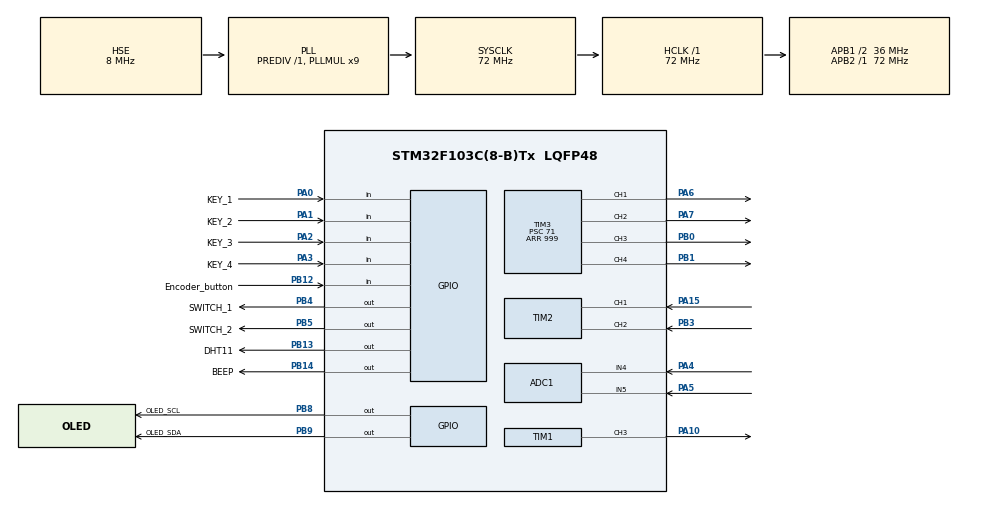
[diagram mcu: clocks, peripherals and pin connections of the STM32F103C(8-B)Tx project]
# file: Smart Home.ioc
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ADC1.Channel-0\#ChannelRegularConversion=ADC_CHANNEL_4
ADC1.EnableAnalogWatchDog=false
ADC1.NbrOfConversionFlag=1
ADC1.Rank-0\#ChannelRegularConversion=1
ADC1.SamplingTime-0\#ChannelRegularConversion=ADC_SAMPLETIME_1CYCLE_5
ADC1.master=1
Dma.Request0=TIM1_CH3
Dma.TIM1_CH3.0.Direction=DMA_MEMORY_TO_PERIPH
Dma.TIM1_CH3.0.Instance=DMA1_Channel6
Dma.TIM1_CH3.0.MemDataAlignment=DMA_MDATAALIGN_HALFWORD
Dma.TIM1_CH3.0.MemInc=DMA_MINC_ENABLE
Dma.TIM1_CH3.0.Mode=DMA_NORMAL
Dma.TIM1_CH3.0.PeriphDataAlignment=DMA_PDATAALIGN_HALFWORD
Dma.TIM1_CH3.0.PeriphInc=DMA_PINC_DISABLE
Dma.TIM1_CH3.0.Priority=DMA_PRIORITY_HIGH
FREERTOS.Tasks01=defaultTask,24,128,StartDefaultTask,Default,NULL,Dynamic,NULL,NULL
FREERTOS.configTOTAL_HEAP_SIZE=8192
Mcu.Family=STM32F1
Mcu.Name=STM32F103C(8-B)Tx
Mcu.Package=LQFP48
NVIC.DMA1_Channel6_IRQn=true\:5\:0\:false\:false\:true\:true\:false\:true\:true
NVIC.PriorityGroup=NVIC_PRIORITYGROUP_4
PA0-WKUP.GPIO_Label=KEY_1
PA0-WKUP.GPIO_PuPd=GPIO_PULLUP
PA0-WKUP.Signal=GPIO_Input
PA1.GPIO_Label=KEY_2
PA1.GPIO_PuPd=GPIO_PULLUP
PA1.Signal=GPIO_Input
PA10.GPIO_Speed=GPIO_SPEED_FREQ_HIGH
PA10.Signal=S_TIM1_CH3
PA13.Mode=Serial_Wire
PA13.Signal=SYS_JTMS-SWDIO
PA14.Mode=Serial_Wire
PA14.Signal=SYS_JTCK-SWCLK
PA15.Signal=S_TIM2_CH1_ETR
PA2.GPIO_Label=KEY_3
PA2.GPIO_PuPd=GPIO_PULLUP
PA2.Signal=GPIO_Input
PA3.GPIO_Label=KEY_4
PA3.GPIO_PuPd=GPIO_PULLUP
PA3.Signal=GPIO_Input
PA4.Signal=ADCx_IN4
PA5.Signal=ADCx_IN5
PA6.Signal=S_TIM3_CH1
PA7.Signal=S_TIM3_CH2
PB0.Signal=S_TIM3_CH3
PB1.Signal=S_TIM3_CH4
PB12.GPIO_Label=Encoder_button
PB12.GPIO_PuPd=GPIO_PULLUP
PB12.Signal=GPIO_Input
PB13.GPIO_Label=DHT11
PB13.GPIO_ModeDefaultOutputPP=GPIO_MODE_OUTPUT_OD
PB13.GPIO_PuPd=GPIO_NOPULL
PB13.GPIO_Speed=GPIO_SPEED_FREQ_HIGH
PB13.PinState=GPIO_PIN_RESET
PB13.Signal=GPIO_Output
PB14.GPIO_Label=BEEP
PB14.GPIO_PuPd=GPIO_PULLUP
PB14.PinState=GPIO_PIN_SET
PB14.Signal=GPIO_Output
PB3.Signal=S_TIM2_CH2
PB4.GPIO_Label=SWITCH_1
PB4.Signal=GPIO_Output
PB5.GPIO_Label=SWITCH_2
PB5.Signal=GPIO_Output
PB8.GPIO_Label=OLED_SCL
PB8.GPIO_ModeDefaultOutputPP=GPIO_MODE_OUTPUT_OD
PB8.GPIO_PuPd=GPIO_PULLUP
PB8.GPIO_Speed=GPIO_SPEED_FREQ_HIGH
PB8.PinState=GPIO_PIN_RESET
PB8.Signal=GPIO_Output
PB9.GPIO_Label=OLED_SDA
PB9.GPIO_ModeDefaultOutputPP=GPIO_MODE_OUTPUT_OD
PB9.GPIO_PuPd=GPIO_PULLUP
PB9.GPIO_Speed=GPIO_SPEED_FREQ_HIGH
PB9.PinState=GPIO_PIN_RESET
PB9.Signal=GPIO_Output
PC14-OSC32_IN.Mode=LSE-External-Oscillator
PC14-OSC32_IN.Signal=RCC_OSC32_IN
PC15-OSC32_OUT.Mode=LSE-External-Oscillator
PC15-OSC32_OUT.Signal=RCC_OSC32_OUT
PD0-OSC_IN.Mode=HSE-External-Oscillator
PD0-OSC_IN.Signal=RCC_OSC_IN
PD1-OSC_OUT.Mode=HSE-External-Oscillator
PD1-OSC_OUT.Signal=RCC_OSC_OUT
ProjectManager.HeapSize=0x200
ProjectManager.StackSize=0x400
ProjectManager.TargetToolchain=MDK-ARM V5.32
RCC.ADCPresc=RCC_ADCPCLK2_DIV6
RCC.AHBFreq_Value=72000000
RCC.APB1CLKDivider=RCC_HCLK_DIV2
RCC.APB1Freq_Value=36000000
RCC.APB1TimFreq_Value=72000000
RCC.APB2Freq_Value=72000000
RCC.APB2TimFreq_Value=72000000
RCC.HCLKFreq_Value=72000000
RCC.PLLMUL=RCC_PLL_MUL9
RCC.PLLSourceVirtual=RCC_PLLSOURCE_HSE
RCC.RTCClockSelection=RCC_RTCCLKSOURCE_LSE
RCC.SYSCLKFreq_VALUE=72000000
RCC.SYSCLKSource=RCC_SYSCLKSOURCE_PLLCLK
RCC.USBFreq_Value=72000000
SH.ADCx_IN4.0=ADC1_IN4,IN4
SH.ADCx_IN5.0=ADC1_IN5,IN5
SH.S_TIM1_CH3.0=TIM1_CH3,PWM Generation3 CH3
SH.S_TIM2_CH1_ETR.0=TIM2_CH1,Encoder_Interface
SH.S_TIM2_CH2.0=TIM2_CH2,Encoder_Interface
SH.S_TIM3_CH1.0=TIM3_CH1,PWM Generation1 CH1
SH.S_TIM3_CH2.0=TIM3_CH2,PWM Generation2 CH2
SH.S_TIM3_CH3.0=TIM3_CH3,PWM Generation3 CH3
SH.S_TIM3_CH4.0=TIM3_CH4,PWM Generation4 CH4
TIM1.AutoReloadPreload=TIM_AUTORELOAD_PRELOAD_ENABLE
TIM1.Channel-PWM\ Generation3\ CH3=TIM_CHANNEL_3
TIM1.Prescaler=89
TIM2.AutoReloadPreload=TIM_AUTORELOAD_PRELOAD_ENABLE
TIM2.IC1Filter=12
TIM3.AutoReloadPreload=TIM_AUTORELOAD_PRELOAD_ENABLE
TIM3.Channel-PWM\ Generation1\ CH1=TIM_CHANNEL_1
TIM3.Channel-PWM\ Generation2\ CH2=TIM_CHANNEL_2
TIM3.Channel-PWM\ Generation3\ CH3=TIM_CHANNEL_3
TIM3.Channel-PWM\ Generation4\ CH4=TIM_CHANNEL_4
TIM3.Period=999
TIM3.Prescaler=71
VP_FREERTOS_VS_CMSIS_V2.Mode=CMSIS_V2
VP_RTC_VS_RTC_Activate.Mode=RTC_Enabled
VP_RTC_VS_RTC_Calendar.Mode=RTC_Calendar
board=custom

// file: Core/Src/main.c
/* USER CODE BEGIN Header */
/**
  ******************************************************************************
  * @file           : main.c
  * @brief          : Main program body
  ******************************************************************************
  * @attention
  *
  * Copyright (c) 2025 STMicroelectronics.
  * All rights reserved.
  *
  * This software is licensed under terms that can be found in the LICENSE file
  * in the root directory of this software component.
  * If no LICENSE file comes with this software, it is provided AS-IS.
  *
  ******************************************************************************
  */
/* USER CODE END Header */
#include "main.h"
#include "cmsis_os.h"
#include "adc.h"
#include "dma.h"
#include "rtc.h"
#include "tim.h"
#include "gpio.h"

/* USER CODE BEGIN Includes */
#include "OLED.h"
#include "delay.h"

/* USER CODE END Includes */

void SystemClock_Config(void);
void MX_FREERTOS_Init(void);

/* USER CODE BEGIN 0 */
RTC_DateTypeDef sDate;
RTC_TimeTypeDef sTime;
/* USER CODE END 0 */

int main(void)
{

  /* MCU Configuration--------------------------------------------------------*/

  /* Reset of all peripherals, Initializes the Flash interface and the Systick. */
  HAL_Init();

  /* Configure the system clock */
  SystemClock_Config();

  /* Initialize all configured peripherals */
  MX_GPIO_Init();
  MX_DMA_Init();
  MX_TIM2_Init();
  MX_RTC_Init();
  MX_TIM3_Init();
  MX_ADC1_Init();
  MX_TIM1_Init();
  /* USER CODE BEGIN 2 */
	// 检查备份寄存器 DR1 的值是否为 0x32F2
	if (HAL_RTCEx_BKUPRead(&hrtc, RTC_BKP_DR1) != 0x32F2)
	{
	  // 1. 设置日期 (例如：2026年3月6日，星期五)
	  sDate.Year = 26;
	  sDate.Month = RTC_MONTH_MARCH;
	  sDate.Date = 6;
	  sDate.WeekDay = RTC_WEEKDAY_FRIDAY;
	  HAL_RTC_SetDate(&hrtc, &sDate, RTC_FORMAT_BIN);

	  // 2. 设置时间 (例如：14点30分00秒)
	  sTime.Hours = 14;
	  sTime.Minutes = 30;
	  sTime.Seconds = 0;
	  HAL_RTC_SetTime(&hrtc, &sTime, RTC_FORMAT_BIN);

	  // 3. 将 0x32F2 写入备份寄存器，下次重启就不会再重置时间了
	  HAL_RTCEx_BKUPWrite(&hrtc, RTC_BKP_DR1, 0x32F2);
	}
  /* USER CODE END 2 */

  /* Init scheduler */
  osKernelInitialize();  /* Call init function for freertos objects (in cmsis_os2.c) */
  MX_FREERTOS_Init();

  /* Start scheduler */
  osKernelStart();

  /* We should never get here as control is now taken by the scheduler */

  /* Infinite loop */
  while (1)
  {

  }
}

void SystemClock_Config(void)
{
  RCC_OscInitTypeDef RCC_OscInitStruct = {0};
  RCC_ClkInitTypeDef RCC_ClkInitStruct = {0};
  RCC_PeriphCLKInitTypeDef PeriphClkInit = {0};

  /** Initializes the RCC Oscillators according to the specified parameters
  * in the RCC_OscInitTypeDef structure.
  */
  RCC_OscInitStruct.OscillatorType = RCC_OSCILLATORTYPE_HSE|RCC_OSCILLATORTYPE_LSE;
  RCC_OscInitStruct.HSEState = RCC_HSE_ON;
  RCC_OscInitStruct.HSEPredivValue = RCC_HSE_PREDIV_DIV1;
  RCC_OscInitStruct.LSEState = RCC_LSE_ON;
  RCC_OscInitStruct.HSIState = RCC_HSI_ON;
  RCC_OscInitStruct.PLL.PLLState = RCC_PLL_ON;
  RCC_OscInitStruct.PLL.PLLSource = RCC_PLLSOURCE_HSE;
  RCC_OscInitStruct.PLL.PLLMUL = RCC_PLL_MUL9;
  if (HAL_RCC_OscConfig(&RCC_OscInitStruct) != HAL_OK)
  {
    Error_Handler();
  }

  /** Initializes the CPU, AHB and APB buses clocks
  */
  RCC_ClkInitStruct.ClockType = RCC_CLOCKTYPE_HCLK|RCC_CLOCKTYPE_SYSCLK
                              |RCC_CLOCKTYPE_PCLK1|RCC_CLOCKTYPE_PCLK2;
  RCC_ClkInitStruct.SYSCLKSource = RCC_SYSCLKSOURCE_PLLCLK;
  RCC_ClkInitStruct.AHBCLKDivider = RCC_SYSCLK_DIV1;
  RCC_ClkInitStruct.APB1CLKDivider = RCC_HCLK_DIV2;
  RCC_ClkInitStruct.APB2CLKDivider = RCC_HCLK_DIV1;

  if (HAL_RCC_ClockConfig(&RCC_ClkInitStruct, FLASH_LATENCY_2) != HAL_OK)
  {
    Error_Handler();
  }
  PeriphClkInit.PeriphClockSelection = RCC_PERIPHCLK_RTC|RCC_PERIPHCLK_ADC;
  PeriphClkInit.RTCClockSelection = RCC_RTCCLKSOURCE_LSE;
  PeriphClkInit.AdcClockSelection = RCC_ADCPCLK2_DIV6;
  if (HAL_RCCEx_PeriphCLKConfig(&PeriphClkInit) != HAL_OK)
  {
    Error_Handler();
  }
}

void Error_Handler(void)
{
  __disable_irq();
  while (1)
  {
  }
}

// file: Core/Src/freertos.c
/* USER CODE BEGIN Header */
/**
  ******************************************************************************
  * File Name          : freertos.c
  * Description        : Code for freertos applications
  ******************************************************************************
  */
/* USER CODE END Header */

#include "FreeRTOS.h"
#include "task.h"
#include "main.h"
#include "cmsis_os.h"

/* USER CODE BEGIN Includes */
#include "queue.h"
#include "OLED.h"
#include "key.h"
#include "my_encoder.h"
#include "tim.h"
#include "rtc.h"
#include "led.h"
#include "dht11.h"
#include "light_sensor.h"
#include "mq2.h"
#include "beep.h"
#include "ws2812b.h"
#include <stdio.h>
/* USER CODE END Includes */

/* USER CODE BEGIN PTD */
typedef enum
{
  UI_PAGE_SCREENSAVER = 0,
  UI_PAGE_MENU,
  UI_PAGE_ENV,
  UI_PAGE_SWITCH,
  UI_PAGE_LIGHT_MENU,
  UI_PAGE_SYSTEM_MENU,
  UI_PAGE_TIME_MENU,
  UI_PAGE_LED_CTRL,
  UI_PAGE_RGB_CTRL,
  UI_PAGE_TIME,
  UI_PAGE_ALARM_TH,
  UI_PAGE_ALARM
} UI_Page_t;

typedef enum
{
  FIELD_HOUR = 0,
  FIELD_MIN,
  FIELD_SEC,
  FIELD_YEAR,
  FIELD_MONTH,
  FIELD_DAY
} DateTimeField_t;

typedef enum
{
  ALARM_FIELD_HOUR = 0,
  ALARM_FIELD_MIN
} AlarmField_t;
/* USER CODE END PTD */

/* USER CODE BEGIN Variables */
volatile uint8_t g_GlobalKeyNum = 0;
QueueHandle_t xKeyQueue;
TaskHandle_t KeyTaskHandle;
TaskHandle_t OLEDTaskHandle;
TaskHandle_t LEDTaskHandle;
TaskHandle_t ENVTaskHandle;
TaskHandle_t WS2812TaskHandle;

volatile int8_t  g_MenuIndex = 0;      /* 0~3 */
volatile uint8_t g_MenuEnterFlag = 0;  /* ???????? */
volatile int16_t g_LastEncStep = 0;    /* ?????????? */

volatile uint8_t g_LedModeAuto = 0;    /* 0=Manual, 1=Auto */
volatile uint8_t g_LedBrightness[3] = {30, 30, 30};

volatile uint8_t g_EnvTemp = 0;
volatile uint8_t g_EnvHumi = 0;
volatile uint8_t g_EnvTempDec = 0;
volatile uint8_t g_EnvHumiDec = 0;
volatile uint8_t g_EnvValid = 0;
volatile uint8_t g_EnvLastStatus = 0;
volatile uint16_t g_LightRaw = 0;
volatile uint8_t g_LightPercent = 0;
volatile uint8_t g_Mq2Percent = 0;
volatile uint8_t g_SwitchState[2] = {0, 0};
volatile uint8_t g_AlarmHour = 12;
volatile uint8_t g_AlarmMin = 0;
volatile uint8_t g_Mq2Threshold = 50;
volatile WS2812B_Mode_t g_WsMode = WS2812B_MODE_OFF;
/* USER CODE END Variables */
/* Definitions for defaultTask */
osThreadId_t defaultTaskHandle;
const osThreadAttr_t defaultTask_attributes = {
  .name = "defaultTask",
  .stack_size = 128 * 4,
  .priority = (osPriority_t) osPriorityNormal,
};

/* USER CODE BEGIN FunctionPrototypes */
void Key_Task_Entry(void *argument);
void OLED_Task_Entry(void *argument);
void LED_Control_Task_Entry(void *argument);
void ENV_Task_Entry(void *argument);
void LightTest_Task_Entry(void *argument);
void WS2812_Task_Entry(void *argument);
/* USER CODE END FunctionPrototypes */

void StartDefaultTask(void *argument);

void MX_FREERTOS_Init(void); /* (MISRA C 2004 rule 8.1) */

void MX_FREERTOS_Init(void) {
  /* USER CODE BEGIN Init */
  OLED_Init();
  OLED_ShowString(1, 1, "OS Loading...", OLED_6X8);
  OLED_Update();

  xKeyQueue = xQueueCreate(10, sizeof(uint8_t));
  MY_ENCODER_Init(&htim2);
  /* USER CODE END Init */

  /* Create the thread(s) */
  /* creation of defaultTask */
  defaultTaskHandle = osThreadNew(StartDefaultTask, NULL, &defaultTask_attributes);

  /* USER CODE BEGIN RTOS_THREADS */
  xTaskCreate(Key_Task_Entry, "KeyTask", 256, NULL, osPriorityAboveNormal, &KeyTaskHandle);
  xTaskCreate(LED_Control_Task_Entry, "LEDTask", 256, NULL, osPriorityLow, &LEDTaskHandle);
  xTaskCreate(ENV_Task_Entry, "ENVTask", 256, NULL, osPriorityLow, &ENVTaskHandle);
  xTaskCreate(WS2812_Task_Entry, "WS2812", 256, NULL, osPriorityLow, &WS2812TaskHandle);
  xTaskCreate(OLED_Task_Entry, "OLEDTask", 512, NULL, osPriorityNormal, &OLEDTaskHandle);
  //xTaskCreate(LightTest_Task_Entry, "LightTest", 512, NULL, osPriorityLow, &OLEDTaskHandle);
  /* USER CODE END RTOS_THREADS */

}

void StartDefaultTask(void *argument)
{
  /* USER CODE BEGIN StartDefaultTask */
  for (;;)
  {
    osDelay(1000);
  }
  /* USER CODE END StartDefaultTask */
}

/* USER CODE BEGIN Application */
void Key_Task_Entry(void *argument)
{
  uint8_t CurrState = 0;
  uint8_t PrevState = 0;
  uint32_t lastKeyScanTick = 0;

  for (;;)
  {
    MY_ENCODER_Process();

    {
      int16_t step = MY_ENCODER_GetMoveSteps();
      if (step != 0)
      {
        if (step > 0) step = 1;
        if (step < 0) step = -1;
        g_LastEncStep = step;
      }
    }

    if (MY_ENCODER_GetClick())
    {
      g_MenuEnterFlag = 1;
    }

    if ((HAL_GetTick() - lastKeyScanTick) >= 20U)
    {
      lastKeyScanTick = HAL_GetTick();
      PrevState = CurrState;
      CurrState = Key_GetState();
      if ((CurrState == 0U) && (PrevState != 0U))
      {
        xQueueSend(xKeyQueue, &PrevState, 0);
      }
    }

    osDelay(2);
  }
}

void LED_Control_Task_Entry(void *argument)
{
  uint8_t autoBrightness = 0;

  if (LED_PWM_Init(&htim3) == HAL_OK)
  {
    LED_PWM_Start();
  }

  for (;;)
  {
    if (g_LedModeAuto)
    {
      /* ????????? */
      autoBrightness = g_LightPercent;
      LED_SetAllPercent(autoBrightness, autoBrightness, autoBrightness);
    }
    else
    {
      LED_SetAllPercent(g_LedBrightness[0], g_LedBrightness[1], g_LedBrightness[2]);
    }

    osDelay(30);
  }
}

void ENV_Task_Entry(void *argument)
{
  DHT11_Data_t dht;
  DHT11_Config_t dhtCfg;
  HAL_StatusTypeDef st;
  uint32_t lightAvg = 0;
  uint32_t lastDhtTick = 0;
  uint32_t lastBeepTick = 0;

  /* 针对PCB时序裕量的默认调参 */
  dhtCfg.sample_us = 35U;         /* 兼容保留参数 */
  dhtCfg.max_retries = 3U;
  dhtCfg.bit_timeout_us = 160U;
  dhtCfg.resp_timeout_us = 300U;
  dhtCfg.high_threshold_us = 18U; /* 脉宽判1阈值（计数单位近似us） */

  DHT11_Init();
  DHT11_SetConfig(&dhtCfg);
  DHT11_ResetStats();
  BEEP_Init(); /* ???????????????? */
  osDelay(1200);

  for (;;)
  {
    RTC_TimeTypeDef nowTime;
    RTC_DateTypeDef nowDate;
    uint8_t alarmActive = 0;
    uint8_t mq2Active = 0;

    /* ???? + ???????? */
    g_LightRaw = LightSensor_ReadRaw();
    lightAvg = (lightAvg * 3U + g_LightRaw) / 4U;
    /* ???????????? */
    g_LightPercent = (uint8_t)(100U - (lightAvg * 100U) / 4095U);

    /* MQ2 ???? */
    g_Mq2Percent = MQ2_ReadPercent();

    /* ???? */
    HAL_RTC_GetTime(&hrtc, &nowTime, RTC_FORMAT_BIN);
    HAL_RTC_GetDate(&hrtc, &nowDate, RTC_FORMAT_BIN);
    if ((nowTime.Hours == g_AlarmHour) && (nowTime.Minutes == g_AlarmMin))
    {
      alarmActive = 1U;
    }

    /* MQ2 ??????? */
    if (g_Mq2Percent > g_Mq2Threshold)
    {
      mq2Active = 1U;
    }

    /* MQ2/????????0.5s ???? */
    if (alarmActive || mq2Active)
    {
      if ((HAL_GetTick() - lastBeepTick) >= 500U)
      {
        lastBeepTick = HAL_GetTick();
        BEEP_Toggle();
      }
    }
    else
    {
      BEEP_Off();
    }

    /* DHT11 ?? 1s ???????? BUSY/ERROR */
    if ((HAL_GetTick() - lastDhtTick) >= 1000U)
    {
      lastDhtTick = HAL_GetTick();

      st = DHT11_Read(&dht);
      g_EnvLastStatus = (uint8_t)st;

      if (st == HAL_OK)
      {
        g_EnvTemp = dht.temp_int;
        g_EnvHumi = dht.hum_int;
        g_EnvTempDec = (uint8_t)(dht.temp_dec % 10U);
        g_EnvHumiDec = (uint8_t)(dht.hum_dec % 10U);
        g_EnvValid = 1;
      }
      else
      {
        g_EnvValid = 0;
      }
    }

    osDelay(100);
  }
}

void WS2812_Task_Entry(void *argument)
{
  WS2812B_Init(&htim1);
  WS2812B_UpdateMode(WS2812B_MODE_OFF);

  for (;;)
  {
    if (!WS2812B_IsBusy())
    {
      WS2812B_RenderFrame();
    }
    osDelay(30);
  }
}

void OLED_Task_Entry(void *argument)
{
  const char *menuItems[4] = {"Environment", "Light", "Switch", "System"};
  const char *lightItems[2] = {"LED Control", "RGB Control"};
  const char *systemItems[2] = {"Time", "Alarm"};
  const char *timeItems[2] = {"Time Set", "Alarm Clock"};
  UI_Page_t uiPage = UI_PAGE_SCREENSAVER;
  DateTimeField_t dtField = FIELD_HOUR;
  uint8_t timeEditing = 0;

  uint8_t lightMenuIndex = 0;
  uint8_t systemMenuIndex = 0;
  uint8_t timeMenuIndex = 0;
  uint8_t ledCursor = 0;   /* 0:Mode, 1:LED1, 2:LED2, 3:LED3 */
  uint8_t ledEditing = 0;
  uint8_t switchCursor = 0; /* 0:SW1, 1:SW2 */
  uint8_t rgbModeIndex = 0; /* 0=OFF,1=Breath,2=Flow,3=Gradient,4=Colorful */
  uint8_t rgbEditing = 0;

  RTC_TimeTypeDef rtcTime;
  RTC_DateTypeDef rtcDate;
  uint8_t editHour = 0, editMin = 0, editSec = 0;
  uint8_t editYear = 0, editMonth = 1, editDay = 1;

  AlarmField_t alarmField = ALARM_FIELD_HOUR;
  uint8_t alarmEditing = 0;
  uint8_t alarmThEditing = 0;

  uint8_t enteredIndex = 0xFF;
  int16_t highlightY = 14;          /* ????????Y */
  int16_t lightHighlightY = 13;     /* Light Menu ?????Y */
  int16_t ledHighlightY = 14;       /* LED Control ??????Y */
  int16_t switchHighlightY = 16;    /* Switch ??????Y */
  int16_t systemHighlightY = 15;    /* System Menu ?????Y */
  int16_t timeHighlightY = 15;      /* Time Menu ?????Y */
  uint8_t clickShowCnt = 0;         /* OPEN?????? */

  uint8_t blinkOn = 1;
  uint32_t lastBlinkTick = 0;

  TickType_t xLastWakeTime = xTaskGetTickCount();
  const TickType_t xFrequency = pdMS_TO_TICKS(20);   /* 50FPS */

  for (;;)
  {
    int16_t targetY;
    int16_t dy;
    int16_t step;
    uint8_t keyEvt = 0;
    char buf[16];

    vTaskDelayUntil(&xLastWakeTime, xFrequency);

    step = g_LastEncStep;
    g_LastEncStep = 0;

    if (xQueueReceive(xKeyQueue, &keyEvt, 0) == pdPASS)
    {
      g_GlobalKeyNum = keyEvt;
    }

    if ((HAL_GetTick() - lastBlinkTick) >= 500U)
    {
      lastBlinkTick = HAL_GetTick();
      blinkOn = (uint8_t)!blinkOn;
    }

    /* KEY1: ?????????????????? */
    if ((keyEvt == 1) && (uiPage != UI_PAGE_MENU) && (uiPage != UI_PAGE_SCREENSAVER)
        && (uiPage != UI_PAGE_TIME_MENU) && (uiPage != UI_PAGE_TIME)
        && (uiPage != UI_PAGE_ALARM) && (uiPage != UI_PAGE_ALARM_TH))
    {
      g_MenuEnterFlag = 0;
      uiPage = UI_PAGE_MENU;
      continue;
    }

    if (uiPage == UI_PAGE_SCREENSAVER)
    {
      RTC_TimeTypeDef nowTime;
      RTC_DateTypeDef nowDate;

      HAL_RTC_GetTime(&hrtc, &nowTime, RTC_FORMAT_BIN);
      HAL_RTC_GetDate(&hrtc, &nowDate, RTC_FORMAT_BIN);

      /* ???????????? */
      if (g_MenuEnterFlag)
      {
        g_MenuEnterFlag = 0;
        uiPage = UI_PAGE_MENU;
        continue;
      }

      OLED_Clear();
      OLED_ShowString(36, 0, "Smart Home", OLED_6X8);
      OLED_DrawLine(0, 10, 127, 10);

      snprintf(buf, sizeof(buf), "20%02d-%02d-%02d", nowDate.Year, nowDate.Month, nowDate.Date);
      OLED_ShowString(28, 24, buf, OLED_6X8);

      snprintf(buf, sizeof(buf), "%02d:%02d:%02d", nowTime.Hours, nowTime.Minutes, nowTime.Seconds);
      OLED_ShowString(28, 38, buf, OLED_8X16);

      OLED_Update();
      continue;
    }

    if (uiPage == UI_PAGE_MENU)
    {
      /* ?????? KEY1 ???? */
      if (keyEvt == 1)
      {
        g_MenuEnterFlag = 0;
        uiPage = UI_PAGE_SCREENSAVER;
        continue;
      }

      if (step > 0)
      {
        g_MenuIndex++;
        if (g_MenuIndex >= 4) g_MenuIndex = 0;
      }
      else if (step < 0)
      {
        if (g_MenuIndex == 0) g_MenuIndex = 3;
        else g_MenuIndex--;
      }

      if (g_MenuEnterFlag)
      {
        enteredIndex = (uint8_t)g_MenuIndex;
        g_MenuEnterFlag = 0;
        clickShowCnt = 20;

        if (g_MenuIndex == 1) /* ?? Light ?? */
        {
          lightMenuIndex = 0;
          uiPage = UI_PAGE_LIGHT_MENU;
        }
        else if (g_MenuIndex == 0) /* Environment */
        {
          uiPage = UI_PAGE_ENV;
        }
        else if (g_MenuIndex == 2) /* Switch */
        {
          uiPage = UI_PAGE_SWITCH;
        }
        else if (g_MenuIndex == 3) /* System */
        {
          systemMenuIndex = 0;
          uiPage = UI_PAGE_SYSTEM_MENU;
        }
      }

      targetY = (int16_t)(14 + ((int16_t)g_MenuIndex * 12));
      dy = targetY - highlightY;
      if (dy > 2) dy = 2;
      if (dy < -2) dy = -2;
      highlightY += dy;

      OLED_Clear();
      OLED_ShowString(0, 0, "Smart Home Menu", OLED_6X8);
      OLED_DrawLine(0, 10, 127, 10);

      OLED_ShowString(6, 14, (char *)menuItems[0], OLED_6X8);
      OLED_ShowString(6, 26, (char *)menuItems[1], OLED_6X8);
      OLED_ShowString(6, 38, (char *)menuItems[2], OLED_6X8);
      OLED_ShowString(6, 50, (char *)menuItems[3], OLED_6X8);

      OLED_ReverseArea(0, highlightY - 1, 128, 10);

      if ((enteredIndex != 0xFF) && (clickShowCnt > 0))
      {
        OLED_ShowString(76, 0, "OPEN:", OLED_6X8);
        OLED_ShowNum(106, 0, (uint32_t)(enteredIndex + 1), 1, OLED_6X8);
        clickShowCnt--;
      }

      OLED_Update();
      continue;
    }

    if (uiPage == UI_PAGE_SWITCH)
    {
      int16_t targetSwitchY;
      int16_t switchDy;

      if (step > 0)
      {
        switchCursor = (uint8_t)((switchCursor + 1U) % 2U);
      }
      else if (step < 0)
      {
        switchCursor = (uint8_t)((switchCursor == 0U) ? 1U : 0U);
      }

      if (g_MenuEnterFlag)
      {
        g_MenuEnterFlag = 0;
        g_SwitchState[switchCursor] = (uint8_t)!g_SwitchState[switchCursor];
        HAL_GPIO_WritePin(SWITCH_1_GPIO_Port, SWITCH_1_Pin,
                          g_SwitchState[0] ? GPIO_PIN_SET : GPIO_PIN_RESET);
        HAL_GPIO_WritePin(SWITCH_2_GPIO_Port, SWITCH_2_Pin,
                          g_SwitchState[1] ? GPIO_PIN_SET : GPIO_PIN_RESET);
      }

      targetSwitchY = (int16_t)((switchCursor == 0U) ? 15 : 27);
      switchDy = targetSwitchY - switchHighlightY;
      if (switchDy > 2) switchDy = 2;
      if (switchDy < -2) switchDy = -2;
      switchHighlightY += switchDy;

      OLED_Clear();
      OLED_ShowString(0, 0, "Switch", OLED_6X8);
      OLED_DrawLine(0, 10, 127, 10);
      OLED_ShowString(0, 16, g_SwitchState[0] ? "SWITCH1: ON " : "SWITCH1: OFF", OLED_6X8);
      OLED_ShowString(0, 28, g_SwitchState[1] ? "SWITCH2: ON " : "SWITCH2: OFF", OLED_6X8);
      OLED_ReverseArea(0, switchHighlightY, 128, 10);
      OLED_Update();
      continue;
    }

    if (uiPage == UI_PAGE_SYSTEM_MENU)
    {
      int16_t targetSystemY;
      int16_t systemDy;

      if (step > 0)
      {
        systemMenuIndex = (uint8_t)((systemMenuIndex + 1U) % 2U);
      }
      else if (step < 0)
      {
        systemMenuIndex = (uint8_t)((systemMenuIndex == 0U) ? 1U : 0U);
      }

      if (g_MenuEnterFlag)
      {
        g_MenuEnterFlag = 0;
        if (systemMenuIndex == 0)
        {
          timeMenuIndex = 0;
          uiPage = UI_PAGE_TIME_MENU;
        }
        else
        {
          blinkOn = 1;
          lastBlinkTick = HAL_GetTick();
          alarmThEditing = 0;
          uiPage = UI_PAGE_ALARM_TH;
        }
      }

      targetSystemY = (int16_t)(15 + ((int16_t)systemMenuIndex * 12));
      systemDy = targetSystemY - systemHighlightY;
      if (systemDy > 2) systemDy = 2;
      if (systemDy < -2) systemDy = -2;
      systemHighlightY += systemDy;

      OLED_Clear();
      OLED_ShowString(0, 0, "System Menu", OLED_6X8);
      OLED_DrawLine(0, 10, 127, 10);
      OLED_ShowString(0, 16, (char *)systemItems[0], OLED_6X8);
      OLED_ShowString(0, 28, (char *)systemItems[1], OLED_6X8);
      OLED_ReverseArea(0, systemHighlightY, 128, 10);
      OLED_ShowString(0, 56, "KEY1:Menu", OLED_6X8);

      OLED_Update();
      continue;
    }

    if (uiPage == UI_PAGE_TIME_MENU)
    {
      if (keyEvt == 1)
      {
        uiPage = UI_PAGE_SYSTEM_MENU;
        continue;
      }

      int16_t targetTimeY;
      int16_t timeDy;

      if (step > 0)
      {
        timeMenuIndex = (uint8_t)((timeMenuIndex + 1U) % 2U);
      }
      else if (step < 0)
      {
        timeMenuIndex = (uint8_t)((timeMenuIndex == 0U) ? 1U : 0U);
      }

      if (g_MenuEnterFlag)
      {
        g_MenuEnterFlag = 0;
        if (timeMenuIndex == 0) /* Time Set */
        {
          HAL_RTC_GetTime(&hrtc, &rtcTime, RTC_FORMAT_BIN);
          HAL_RTC_GetDate(&hrtc, &rtcDate, RTC_FORMAT_BIN);
          editHour = rtcTime.Hours;
          editMin  = rtcTime.Minutes;
          editSec  = rtcTime.Seconds;
          editYear = rtcDate.Year;
          editMonth = rtcDate.Month;
          editDay = rtcDate.Date;
          dtField = FIELD_HOUR;
          timeEditing = 0;
          blinkOn = 1;
          lastBlinkTick = HAL_GetTick();
          uiPage = UI_PAGE_TIME;
        }
        else
        {
          alarmField = ALARM_FIELD_HOUR;
          alarmEditing = 0;
          blinkOn = 1;
          lastBlinkTick = HAL_GetTick();
          uiPage = UI_PAGE_ALARM;
        }
      }

      targetTimeY = (int16_t)(15 + ((int16_t)timeMenuIndex * 12));
      timeDy = targetTimeY - timeHighlightY;
      if (timeDy > 2) timeDy = 2;
      if (timeDy < -2) timeDy = -2;
      timeHighlightY += timeDy;

      OLED_Clear();
      OLED_ShowString(0, 0, "Time Menu", OLED_6X8);
      OLED_DrawLine(0, 10, 127, 10);
      OLED_ShowString(0, 16, (char *)timeItems[0], OLED_6X8);
      OLED_ShowString(0, 28, (char *)timeItems[1], OLED_6X8);
      OLED_ReverseArea(0, timeHighlightY, 128, 10);
      OLED_ShowString(0, 56, "KEY1:Menu", OLED_6X8);
      OLED_Update();
      continue;
    }

    if (uiPage == UI_PAGE_ALARM)
    {
      if (keyEvt == 1)
      {
        uiPage = UI_PAGE_TIME_MENU;
        alarmEditing = 0;
        continue;
      }

      if (g_MenuEnterFlag)
      {
        g_MenuEnterFlag = 0;
        alarmEditing = (uint8_t)!alarmEditing;
        blinkOn = 1;
        lastBlinkTick = HAL_GetTick();
      }

      if (step != 0)
      {
        if (!alarmEditing)
        {
          alarmField = (alarmField == ALARM_FIELD_HOUR) ? ALARM_FIELD_MIN : ALARM_FIELD_HOUR;
        }
        else
        {
          if (alarmField == ALARM_FIELD_HOUR)
          {
            int16_t v = (int16_t)g_AlarmHour + step;
            while (v < 0) v += 24;
            while (v >= 24) v -= 24;
            g_AlarmHour = (uint8_t)v;
          }
          else
          {
            int16_t v = (int16_t)g_AlarmMin + step;
            while (v < 0) v += 60;
            while (v >= 60) v -= 60;
            g_AlarmMin = (uint8_t)v;
          }
        }
      }

      OLED_Clear();
      OLED_ShowString(28, 0, "ALARM", OLED_8X16);
      OLED_DrawLine(0, 18, 127, 18);

      OLED_DrawRectangle(16, 24, 32, 24, OLED_UNFILLED);
      OLED_DrawRectangle(80, 24, 32, 24, OLED_UNFILLED);

      if (!(alarmEditing && alarmField == ALARM_FIELD_HOUR && !blinkOn))
      {
        snprintf(buf, sizeof(buf), "%02d", g_AlarmHour);
        OLED_ShowString(24, 32, buf, OLED_6X8);
      }
      if (!(alarmEditing && alarmField == ALARM_FIELD_MIN && !blinkOn))
      {
        snprintf(buf, sizeof(buf), "%02d", g_AlarmMin);
        OLED_ShowString(88, 32, buf, OLED_6X8);
      }

      OLED_ShowString(52, 32, ":", OLED_8X16);
      OLED_ShowString(20, 52, "hour", OLED_6X8);
      OLED_ShowString(86, 52, "min", OLED_6X8);

      if (alarmField == ALARM_FIELD_HOUR) OLED_ReverseArea(17, 25, 30, 22);
      if (alarmField == ALARM_FIELD_MIN)  OLED_ReverseArea(81, 25, 30, 22);

      OLED_Update();
      continue;
    }

    if (uiPage == UI_PAGE_ALARM_TH)
    {
      if (keyEvt == 1)
      {
        alarmThEditing = 0;
        uiPage = UI_PAGE_SYSTEM_MENU;
        continue;
      }

      if (g_MenuEnterFlag)
      {
        g_MenuEnterFlag = 0;
        alarmThEditing = (uint8_t)!alarmThEditing;
        blinkOn = 1;
        lastBlinkTick = HAL_GetTick();
      }

      if (step != 0 && alarmThEditing)
      {
        int16_t v = (int16_t)g_Mq2Threshold + step * 2;
        if (v < 0) v = 0;
        if (v > 100) v = 100;
        g_Mq2Threshold = (uint8_t)v;
      }

      OLED_Clear();
      OLED_ShowString(0, 0, "Alarm Setting", OLED_6X8);
      OLED_DrawLine(0, 10, 127, 10);
      OLED_ShowString(0, 16, "MQ2 THRESH", OLED_6X8);

      OLED_DrawRectangle(10, 32, 100, 10, OLED_UNFILLED);
      if (!alarmThEditing || blinkOn)
      {
        uint8_t fill = (uint8_t)((g_Mq2Threshold * 98U) / 100U);
        if (fill > 0)
        {
          OLED_DrawRectangle(11, 33, fill, 8, OLED_FILLED);
        }
      }

      snprintf(buf, sizeof(buf), "%3d%%", g_Mq2Threshold);
      OLED_ShowString(44, 48, buf, OLED_6X8);
      if (alarmThEditing && blinkOn)
      {
        OLED_ReverseArea(0, 30, 128, 14);
      }
      OLED_ShowString(0, 56, "KEY1:Back", OLED_6X8);

      OLED_Update();
      continue;
    }

    if (uiPage == UI_PAGE_ENV)
    {
      OLED_Clear();
      OLED_ShowString(0, 0, "Environment", OLED_6X8);
      OLED_DrawLine(0, 10, 127, 10);

      if (g_EnvValid)
      {
        snprintf(buf, sizeof(buf), "Temp:%2d.%1dC", g_EnvTemp, g_EnvTempDec);
        OLED_ShowString(0, 16, buf, OLED_6X8);

        snprintf(buf, sizeof(buf), "Humi:%2d.%1d%%", g_EnvHumi, g_EnvHumiDec);
        OLED_ShowString(0, 28, buf, OLED_6X8);

        snprintf(buf, sizeof(buf), "Light:%3d%%", g_LightPercent);
        OLED_ShowString(0, 40, buf, OLED_6X8);

        snprintf(buf, sizeof(buf), "AIR:%3d%%", g_Mq2Percent);
        OLED_ShowString(0, 52, buf, OLED_6X8);
      }
      else
      {
        OLED_ShowString(8, 24, "Sensor reading...", OLED_6X8);
        OLED_ShowString(8, 36, "CHK DHT11 WIRE", OLED_6X8);

        if (g_EnvLastStatus == (uint8_t)HAL_TIMEOUT)
        {
          OLED_ShowString(8, 48, "ERR: TIMEOUT", OLED_6X8);
        }
        else if (g_EnvLastStatus == (uint8_t)HAL_ERROR)
        {
          OLED_ShowString(8, 48, "ERR: CHECKSUM", OLED_6X8);
        }
        else if (g_EnvLastStatus == (uint8_t)HAL_BUSY)
        {
          OLED_ShowString(8, 48, "ERR: BUSY", OLED_6X8);
        }
        else
        {
          OLED_ShowString(8, 48, "ERR: UNKNOWN", OLED_6X8);
        }
      }

      OLED_Update();
      continue;
    }

    if (uiPage == UI_PAGE_LIGHT_MENU)
    {
      int16_t targetLightY;
      int16_t lightDy;

      targetLightY = (int16_t)(13 + ((int16_t)lightMenuIndex * 12));
      lightDy = targetLightY - lightHighlightY;
      if (lightDy > 2) lightDy = 2;
      if (lightDy < -2) lightDy = -2;
      lightHighlightY += lightDy;

      if (step > 0)
      {
        lightMenuIndex++;
        if (lightMenuIndex >= 2) lightMenuIndex = 0;
      }
      else if (step < 0)
      {
        if (lightMenuIndex == 0) lightMenuIndex = 1;
        else lightMenuIndex--;
      }

      if (g_MenuEnterFlag)
      {
        g_MenuEnterFlag = 0;
        if (lightMenuIndex == 0)
        {
          ledCursor = 0;
          ledEditing = 0;
          uiPage = UI_PAGE_LED_CTRL;
        }
        else
        {
          rgbModeIndex = (uint8_t)g_WsMode;
          rgbEditing = 0;
          blinkOn = 1;
          lastBlinkTick = HAL_GetTick();
          uiPage = UI_PAGE_RGB_CTRL;
        }
      }

      OLED_Clear();
      OLED_ShowString(0, 0, "Light Menu", OLED_6X8);
      OLED_DrawLine(0, 10, 127, 10);
      OLED_ShowString(0, 14, (char *)lightItems[0], OLED_6X8);
      OLED_ShowString(0, 26, (char *)lightItems[1], OLED_6X8);
      OLED_ReverseArea(0, lightHighlightY, 128, 9);
      OLED_Update();
      continue;
    }

    if (uiPage == UI_PAGE_RGB_CTRL)
    {
      const char *rgbItems[5] = {"OFF", "Breath", "Flow", "Gradient", "Colorful"};

      if (keyEvt == 1)
      {
        rgbEditing = 0;
        uiPage = UI_PAGE_LIGHT_MENU;
        continue;
      }

      if (g_MenuEnterFlag)
      {
        g_MenuEnterFlag = 0;
        rgbEditing = (uint8_t)!rgbEditing;
        blinkOn = 1;
        lastBlinkTick = HAL_GetTick();
      }

      if (step != 0 && rgbEditing)
      {
        if (step > 0)
        {
          rgbModeIndex = (uint8_t)((rgbModeIndex + 1U) % 5U);
        }
        else
        {
          rgbModeIndex = (uint8_t)((rgbModeIndex == 0U) ? 4U : (rgbModeIndex - 1U));
        }

        g_WsMode = (WS2812B_Mode_t)rgbModeIndex;
        WS2812B_UpdateMode(g_WsMode);
      }

      OLED_Clear();
      OLED_ShowString(0, 0, "RGB Control", OLED_6X8);
      OLED_DrawLine(0, 10, 127, 10);
      OLED_ShowString(0, 14, "Mode:", OLED_6X8);
      OLED_ShowString(42, 14, (char *)rgbItems[rgbModeIndex], OLED_6X8);
      OLED_ShowString(0, 56, "KEY1 Back", OLED_6X8);

      if (!rgbEditing || blinkOn)
      {
        OLED_ReverseArea(0, 13, 128, 9);
      }
      OLED_Update();
      continue;
    }

    if (uiPage == UI_PAGE_LED_CTRL)
    {
      uint8_t d1, d2, d3;
      uint8_t i;
      uint8_t disp[3];
      uint8_t autoBrightness = 0;
      int16_t targetLedY;
      int16_t ledDy;

      targetLedY = (int16_t)(14 + ((int16_t)ledCursor * 12));
      ledDy = targetLedY - ledHighlightY;
      if (ledDy > 2) ledDy = 2;
      if (ledDy < -2) ledDy = -2;
      ledHighlightY += ledDy;

      if (g_MenuEnterFlag)
      {
        g_MenuEnterFlag = 0;

        if (ledCursor == 0)
        {
          g_LedModeAuto = (uint8_t)!g_LedModeAuto;   /* ?? Mode ?? */
          ledEditing = 0;
        }
        else if (!g_LedModeAuto)
        {
          ledEditing = (uint8_t)!ledEditing;          /* Manual???/?????? */
        }
      }

      if (!g_LedModeAuto)
      {
        if (!ledEditing)
        {
          if (step > 0)
          {
            ledCursor++;
            if (ledCursor > 3) ledCursor = 0;
          }
          else if (step < 0)
          {
            if (ledCursor == 0) ledCursor = 3;
            else ledCursor--;
          }
        }
        else
        {
          if (step != 0)
          {
            int16_t v = (int16_t)g_LedBrightness[ledCursor - 1] + step * 5;
            if (v < 0) v = 0;
            if (v > 100) v = 100;
            g_LedBrightness[ledCursor - 1] = (uint8_t)v;
          }
        }
      }

      d1 = g_LedBrightness[0];
      d2 = g_LedBrightness[1];
      d3 = g_LedBrightness[2];
      if (g_LedModeAuto)
      {
        /* Auto ?????????? PWM ?? */
        autoBrightness = g_LightPercent;
        d1 = d2 = d3 = autoBrightness;
      }
      disp[0] = d1; disp[1] = d2; disp[2] = d3;

      OLED_Clear();
      OLED_ShowString(0, 0, "LED Control", OLED_6X8);
      OLED_DrawLine(0, 10, 127, 10);

      OLED_ShowString(0, 14, "Mode:", OLED_6X8);
      OLED_ShowString(36, 14, g_LedModeAuto ? "Auto" : "Manual", OLED_6X8);

      if (ledEditing && (ledCursor == 1) && !blinkOn) OLED_ShowString(0, 26, "     ", OLED_6X8);
      else                                           OLED_ShowString(0, 26, "LED1:", OLED_6X8);

      if (ledEditing && (ledCursor == 2) && !blinkOn) OLED_ShowString(0, 38, "     ", OLED_6X8);
      else                                           OLED_ShowString(0, 38, "LED2:", OLED_6X8);

      if (ledEditing && (ledCursor == 3) && !blinkOn) OLED_ShowString(0, 50, "     ", OLED_6X8);
      else                                           OLED_ShowString(0, 50, "LED3:", OLED_6X8);

      for (i = 0; i < 3; i++)
      {
        uint8_t y = (uint8_t)(26 + i * 12);
        uint8_t fill = (uint8_t)((disp[i] * 58) / 100);

        OLED_DrawRectangle(34, y, 60, 8, OLED_UNFILLED);
        if (fill > 0)
        {
          OLED_DrawRectangle(35, y + 1, fill, 6, OLED_FILLED);
        }

        OLED_ShowNum(98, y, disp[i], 3, OLED_6X8);
      }

      /* ???????????????????LED??0.5s?? */
      if (ledEditing && (ledCursor != 0))
      {
        if (blinkOn)
        {
          OLED_ReverseArea(0, ledHighlightY-1, 30, 9);
        }
      }
      else
      {
        OLED_ReverseArea(0, ledHighlightY-1, 30, 9);
      }

      if (ledEditing)
      {
        OLED_ShowString(72, 14, "Adj", OLED_6X8);
      }

      OLED_Update();
      continue;
    }

    /* Time?? */
    if (keyEvt == 1)
    {
      RTC_TimeTypeDef sTime = {0};
      RTC_DateTypeDef sDate = {0};
      sTime.Hours = editHour;
      sTime.Minutes = editMin;
      sTime.Seconds = editSec;
      sDate.Year = editYear;
      sDate.Month = editMonth;
      sDate.Date = editDay;
      sDate.WeekDay = rtcDate.WeekDay;
      HAL_RTC_SetTime(&hrtc, &sTime, RTC_FORMAT_BIN);
      HAL_RTC_SetDate(&hrtc, &sDate, RTC_FORMAT_BIN);

      uiPage = UI_PAGE_TIME_MENU;
      timeEditing = 0;
      continue;
    }

    if (g_MenuEnterFlag)
    {
      g_MenuEnterFlag = 0;
      timeEditing = (uint8_t)!timeEditing;
      blinkOn = 1;
      lastBlinkTick = HAL_GetTick();
    }

    if (step != 0)
    {
      if (!timeEditing)
      {
        if (step > 0)
        {
          if (dtField == FIELD_DAY) dtField = FIELD_HOUR;
          else dtField = (DateTimeField_t)(dtField + 1);
        }
        else
        {
          if (dtField == FIELD_HOUR) dtField = FIELD_DAY;
          else dtField = (DateTimeField_t)(dtField - 1);
        }
      }
      else
      {
        if (dtField == FIELD_HOUR)
        {
          int16_t v = (int16_t)editHour + step;
          while (v < 0) v += 24;
          while (v >= 24) v -= 24;
          editHour = (uint8_t)v;
        }
        else if (dtField == FIELD_MIN)
        {
          int16_t v = (int16_t)editMin + step;
          while (v < 0) v += 60;
          while (v >= 60) v -= 60;
          editMin = (uint8_t)v;
        }
        else if (dtField == FIELD_SEC)
        {
          int16_t v = (int16_t)editSec + step;
          while (v < 0) v += 60;
          while (v >= 60) v -= 60;
          editSec = (uint8_t)v;
        }
        else if (dtField == FIELD_YEAR)
        {
          int16_t v = (int16_t)editYear + step;
          while (v < 0) v += 100;
          while (v >= 100) v -= 100;
          editYear = (uint8_t)v;
        }
        else if (dtField == FIELD_MONTH)
        {
          int16_t v = (int16_t)editMonth + step;
          while (v < 1) v += 12;
          while (v > 12) v -= 12;
          editMonth = (uint8_t)v;
        }
        else
        {
          int16_t v = (int16_t)editDay + step;
          while (v < 1) v += 31;
          while (v > 31) v -= 31;
          editDay = (uint8_t)v;
        }
      }
    }

    OLED_Clear();
    OLED_ShowString(28, 0, "TIME", OLED_8X16);
    OLED_DrawLine(0, 18, 127, 18);

    OLED_DrawRectangle(8, 24, 32, 24, OLED_UNFILLED);
    OLED_DrawRectangle(48, 24, 32, 24, OLED_UNFILLED);
    OLED_DrawRectangle(88, 24, 32, 24, OLED_UNFILLED);

    /* ????????20YY-MM-DD */
    snprintf(buf, sizeof(buf), "20%02d-%02d-%02d", editYear, editMonth, editDay);
    OLED_ShowString(62, 0, buf, OLED_6X8);

    if (dtField <= FIELD_SEC)
    {
      if (!(timeEditing && dtField == FIELD_HOUR && !blinkOn))
      {
        snprintf(buf, sizeof(buf), "%02d", editHour);
        OLED_ShowString(16, 32, buf, OLED_6X8);
      }
      if (!(timeEditing && dtField == FIELD_MIN && !blinkOn))
      {
        snprintf(buf, sizeof(buf), "%02d", editMin);
        OLED_ShowString(56, 32, buf, OLED_6X8);
      }
      if (!(timeEditing && dtField == FIELD_SEC && !blinkOn))
      {
        snprintf(buf, sizeof(buf), "%02d", editSec);
        OLED_ShowString(96, 32, buf, OLED_6X8);
      }
    }
    else
    {
      if (!(timeEditing && dtField == FIELD_YEAR && !blinkOn))
      {
        snprintf(buf, sizeof(buf), "%02d", editYear);
        OLED_ShowString(16, 32, buf, OLED_6X8);
      }
      if (!(timeEditing && dtField == FIELD_MONTH && !blinkOn))
      {
        snprintf(buf, sizeof(buf), "%02d", editMonth);
        OLED_ShowString(56, 32, buf, OLED_6X8);
      }
      if (!(timeEditing && dtField == FIELD_DAY && !blinkOn))
      {
        snprintf(buf, sizeof(buf), "%02d", editDay);
        OLED_ShowString(96, 32, buf, OLED_6X8);
      }
    }

    if (dtField <= FIELD_SEC)
    {
      OLED_ShowString(12, 52, "hour", OLED_6X8);
      OLED_ShowString(56, 52, "min", OLED_6X8);
      OLED_ShowString(96, 52, "sec", OLED_6X8);
    }
    else
    {
      OLED_ShowString(12, 52, "year", OLED_6X8);
      OLED_ShowString(56, 52, "mon", OLED_6X8);
      OLED_ShowString(96, 52, "day", OLED_6X8);
    }

    /* ???????????????????????? */
    if ((dtField == FIELD_HOUR) || (dtField == FIELD_YEAR)) OLED_ReverseArea(9, 25, 30, 22);
    if ((dtField == FIELD_MIN)  || (dtField == FIELD_MONTH)) OLED_ReverseArea(49, 25, 30, 22);
    if ((dtField == FIELD_SEC)  || (dtField == FIELD_DAY)) OLED_ReverseArea(89, 25, 30, 22);

    OLED_Update();
  }
}

void LightTest_Task_Entry(void *argument)
{
  uint16_t raw = 0;
  uint32_t mv = 0;
  uint8_t percent = 0;
  char buf[16];

  for (;;)
  {
    raw = LightSensor_ReadRaw();
    percent = (uint8_t)((raw * 100U) / 4095U);
    mv = (raw * 3300U) / 4095U;

    OLED_Clear();
    OLED_ShowString(0, 0, "Light ADC Test", OLED_6X8);
    OLED_DrawLine(0, 10, 127, 10);

    snprintf(buf, sizeof(buf), "RAW:%4u", raw);
    OLED_ShowString(0, 18, buf, OLED_6X8);

    snprintf(buf, sizeof(buf), "PCT:%3u%%", percent);
    OLED_ShowString(0, 30, buf, OLED_6X8);

    snprintf(buf, sizeof(buf), "MV:%4lu", (unsigned long)mv);
    OLED_ShowString(0, 42, buf, OLED_6X8);

    OLED_Update();
    osDelay(200);
  }
}
/* USER CODE END Application */
